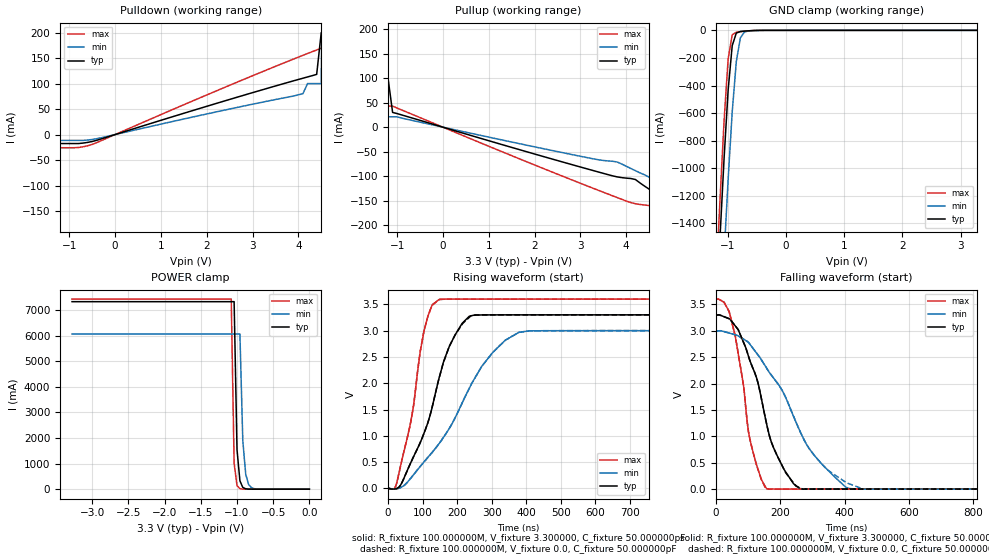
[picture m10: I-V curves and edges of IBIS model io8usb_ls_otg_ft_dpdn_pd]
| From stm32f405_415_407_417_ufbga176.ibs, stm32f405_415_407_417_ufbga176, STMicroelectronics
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|   Model io8usb_ls_otg_ft_dpdn_pd
[Model]  io8usb_ls_otg_ft_dpdn_pd
Model_type I/O
Polarity   Non-Inverting
Enable   Active-Low
Vinl =   0.990000V
Vinh =   2.310000V
Vmeas =  1.650000V
Cref =   50.000000pF
Rref =   100.000000M
Vref =   0.0V
C_comp   8.255900pF   7.991100pF   8.650600pF
[Temperature Range]   25.000000   0.125000k   -40.000000
[Pullup Reference]   3.300000V   3.000000V   3.600000V
[Pulldown Reference]   0.0V   0.0V   0.0V
[POWER Clamp Reference]   3.300000V   3.000000V   3.600000V
[GND Clamp Reference]   0.0V   0.0V   0.0V
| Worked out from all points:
|   slope of the pulldown table from 0 to 0.495 V, typ, clamps not added: 35.6 ohm
|   slope of the pullup table from 0 to 0.495 V, typ, clamps not added: 36.1 ohm
|   GND clamp passes 1 mA (typ) near -0.52 V on its own axis
|   POWER clamp passes 1 mA (typ) near -0.81 V on its own axis
|   rising waveform, R_fixture 100.000000M, V_fixture 3.300000, C_fixture 50.000000pF: 20-80 % time 95.9ns typ, 164ns min, 54.2ns max; typ from 0 V to 3.3 V
|   rising waveform, R_fixture 100.000000M, V_fixture 0.0, C_fixture 50.000000pF: 20-80 % time 95.9ns typ, 164ns min, 54ns max; typ from 0 V to 3.3 V
|   falling waveform, R_fixture 100.000000M, V_fixture 3.300000, C_fixture 50.000000pF: 20-80 % time 93.4ns typ, 165ns min, 53.9ns max; typ from 3.3 V to 0 V
|   falling waveform, R_fixture 100.000000M, V_fixture 0.0, C_fixture 50.000000pF: 20-80 % time 93.5ns typ, 165ns min, 53.9ns max; typ from 3.3 V to 0 V
[Pulldown]
|Voltage   I(typ)   I(min)   I(max)
-3.3V     -182mA     -11.47mA   -25.86mA
-3.2V     -17.62mA   -11.47mA   -25.86mA
-600mV    -15.36mA   -10.76mA   -22.01mA
4.1V      110.5mA    80mA       155.3mA
4.2V      112.9mA    100mA      158.9mA
4.4V      118mA      100mA      165.9mA
4.5V      200mA      100mA      169.3mA
4.6V      200mA      1A         172.7mA
4.7V      200mA      1A         176mA
4.8V      1A         1A         200mA
5.4V      1A         1A         1A
6.6V      1A         1A         1A
[Pullup]
|Voltage   I(typ)   I(min)   I(max)
-3.3V     1A         1A         1A
-1.9V     1A         1A         1A
-1.8V     100mA      1A         1A
-1.7V     100mA      1A         100mA
-1.6V     100mA      1A         100mA
-1.5V     100mA      21mA       100mA
-1.3V     100mA      21mA       100mA
-1.2V     100mA      21mA       43mA
-1.1V     30mA       21mA       43mA
4.2V      -106.8mA   -88.8mA    -156.2mA
5V        -156.6mA   -125mA     -203.2mA
6.6V      -223mA     -161mA     -321mA
[GND_clamp]
|Voltage   I(typ)   I(min)   I(max)
-3.3V     -9.433A    -9.435A    -9.911A
-1.2V     -2.116A    -2.846A    -1.847A
-1.13V    -1.505A    -2.23A     -1.23A
-1.06V    -930.4mA   -1.637A    -658.9mA
-990mV    -432.7mA   -1.08A     -207.3mA
-920mV    -110.5mA   -590.3mA   -31.59mA
-850mV    -19.84mA   -226.8mA   -13.66mA
-780mV    -8.32mA    -54.05mA   -9.517mA
-710mV    -5.29mA    -11.97mA   -6.272mA
-640mV    -3.236mA   -4.296mA   -3.585mA
3.28V     149.6uA    102.1uA    206.8uA
[POWER_clamp]
|Voltage   I(typ)   I(min)   I(max)
-3.28V    7.328A     6.064A     7.43A
-1.08V    7.328A     6.064A     7.43A
-1.04V    7.328A     6.064A     1.015A
-1V       1.545A     6.064A     138.6mA
-960mV    325.6mA    6.064A     18.93mA
-920mV    68.64mA    1.89A      2.585mA
-880mV    14.47mA    589mA      353uA
-840mV    3.05mA     183.6mA    105.9uA
-800mV    642.9uA    57.21mA    105.9uA
-720mV    28.59uA    5.557mA    105.9uA
0V        0A         0A         0A
[Ramp]
| variable   typ   min   max
dV/dt_r  1.45411/0.11060u   1.20609/0.19723u   1.71850/64.27239n
dV/dt_f  1.45867/95.20862n   1.20947/0.16655u   1.72113/55.15060n
R_load = 100.000000
[Rising Waveform]
R_fixture= 100.000000M
V_fixture= 3.300000
V_fixture_min= 3.000000
V_fixture_max= 3.600000
C_fixture= 50.000000pF
|time   V(typ)   V(min)   V(max)
0s        106.1uV    63.26uV    178.2uV
25.36ns   -335.1uV   -4.107mV   112.1mV
69.4ns    541.4mV    225mV      1.399V
104.1ns   1.051V     505.2mV    2.993V
148.1ns   2.11V      856.6mV    3.591V
177.5ns   2.703V     1.145V     3.598V
234.9ns   3.271V     1.901V     3.599V
303ns     3.298V     2.584V     3.599V
379ns     3.299V     2.966V     3.599V
1.333us   3.299V     2.999V     3.599V
[Rising Waveform]
R_fixture= 100.000000M
V_fixture= 0.0
V_fixture_min= 0.0
V_fixture_max= 0.0
C_fixture= 50.000000pF
|time   V(typ)   V(min)   V(max)
0s        104.9uV    61.81uV    177.3uV
25.36ns   -346uV     -4.117mV   112.1mV
69.4ns    541.4mV    225mV      1.399V
102.8ns   1.028V     495mV      2.954V
126.8ns   1.521V     679.2mV    3.472V
146.8ns   2.072V     845mV      3.586V
193.5ns   2.912V     1.336V     3.598V
240.2ns   3.282V     1.971V     3.599V
379ns     3.299V     2.966V     3.599V
1.333us   3.299V     2.999V     3.599V
[Falling Waveform]
R_fixture= 100.000000M
V_fixture= 3.300000
V_fixture_min= 3.000000
V_fixture_max= 3.600000
C_fixture= 50.000000pF
|time   V(typ)   V(min)   V(max)
0s        3.299V     2.999V     3.599V
41.37ns   3.229V     2.958V     3.363V
82.75ns   2.827V     2.854V     2.081V
104.1ns   2.463V     2.758V     991.6mV
130.8ns   2.012V     2.542V     373.8mV
157.5ns   1.239V     2.294V     5.569mV
241.6ns   99.22mV    1.374V     199.9uV
304.3ns   206.7uV    649.3mV    191.8uV
415.1ns   107.6uV    9.906mV    173.9uV
1.333us   106.2uV    63.55uV    182.1uV
[Falling Waveform]
R_fixture= 100.000000M
V_fixture= 0.0
V_fixture_min= 0.0
V_fixture_max= 0.0
C_fixture= 50.000000pF
|time   V(typ)   V(min)   V(max)
0s        3.299V     2.999V     3.599V
41.37ns   3.229V     2.958V     3.363V
81.41ns   2.846V     2.859V     2.131V
105.4ns   2.438V     2.747V     953.8mV
156.2ns   1.276V     2.307V     4.082mV
193.5ns   593.2mV    1.991V     272.8uV
249.6ns   52.64mV    1.258V     182.8uV
344.3ns   126.3uV    373.6mV    177.8uV
457.8ns   105.3uV    980.6uV    177.4uV
1.333us   105.1uV    59.65uV    177.4uV
